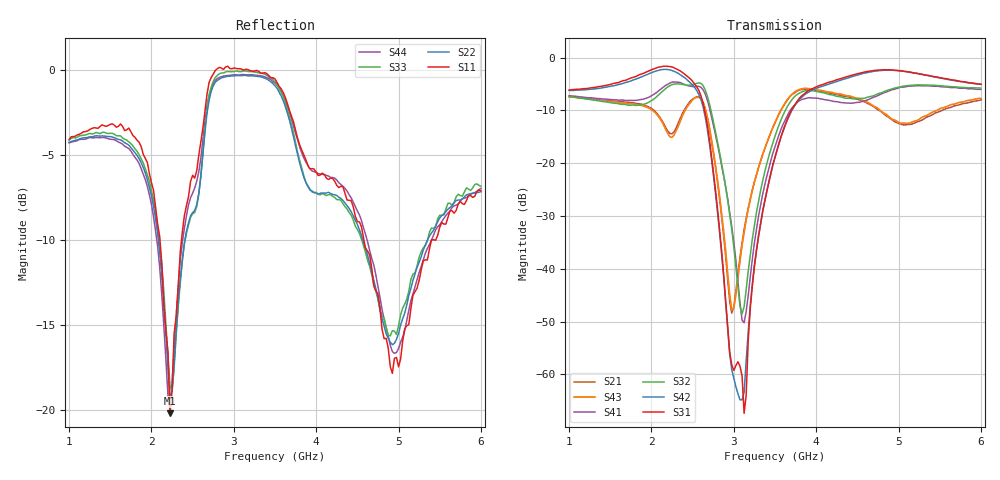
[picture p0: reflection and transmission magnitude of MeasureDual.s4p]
#  HZ  S  RI  R  50.00
! Rohde & Schwarz Vector Network Analyzer
! Rohde-Schwarz,ZNBT8-20Port,1318700624101530,3.45
! Created: UTC 9/9/2023, 5:57:14 PM
! freq[Hz]  re:S11  im:S11  re:S12  im:S12  re:S13  im:S13  re:S14  im:S14
!  re:S21  im:S21  re:S22  im:S22  re:S23  im:S23  re:S24  im:S24
!  re:S31  im:S31  re:S32  im:S32  re:S33  im:S33  re:S34  im:S34
!  re:S41  im:S41  re:S42  im:S42  re:S43  im:S43  re:S44  im:S44
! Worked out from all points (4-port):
!   201 points, 1 GHz to 6 GHz, reference 50 ohm
!   strongest paths, dB at 1 GHz, 2.25 GHz, 3.5 GHz, 4.75 GHz, 6 GHz:
!     S31: -6.1, -1.8, -18.8, -2.3, -5.0
!     S42: -6.2, -2.4, -18.9, -2.5, -5.1
!     S32: -7.3, -5.1, -14.9, -6.8, -5.7
!     S41: -7.2, -4.6, -16.8, -7.2, -6.0
!     S43: -7.3, -15.1, -12.3, -9.6, -7.7
!     S21: -7.4, -14.4, -12.4, -9.9, -8.0
!   lowest |S11| = -20.2 dB at 2.225 GHz (marker M1), VSWR 1.22, Z = 49.5 - j9.78 ohm
!   |S11| at or under -10 dB: 2.103 GHz to 2.364 GHz (261 MHz wide, 11.7 % of centre); 4.58 GHz to 5.399 GHz (818.8 MHz wide, 16.4 % of centre); 5.444183 GHz to 5.450723 GHz (6.54 MHz wide, 0.12 % of centre)
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1e9  -0.4228 0.4607  0.0238 -0.4249  -0.0938 -0.4852  0.00513 -0.4356
     0.0235 -0.4249  -0.3938 0.4702  -0.00369 -0.4311  -0.1105 -0.4777
     -0.0935 -0.4853  -0.00333 -0.4315  -0.41 0.468  0.015 -0.4302
     0.00566 -0.4356  -0.1104 -0.4777  0.0149 -0.4303  -0.3967 0.4647
2.225e9  0.00446 -0.0979  -0.1874 0.0422  0.1649 0.8078  -0.5476 0.18
         -0.1872 0.0419  -0.00848 -0.1097  -0.5378 0.0802  0.1685 0.7471
         0.1633 0.8076  -0.538 0.0797  0.0141 -0.1172  -0.1726 0.0413
         -0.5476 0.1785  0.1674 0.7477  -0.1728 0.0411  -0.03 -0.095
2.65e9  -0.2982 0.7  0.1503 0.297  -0.0237 -0.3038  0.3209 0.327
        0.1505 0.2971  -0.3277 0.5746  0.2977 0.4032  -0.0249 -0.281
        -0.0236 -0.3035  0.2972 0.404  -0.3976 0.5426  0.1327 0.3099
        0.3203 0.3276  -0.0245 -0.2812  0.1325 0.3101  -0.3132 0.6347
3.125e9  0.8653 0.5018  0.00756 -0.0227  -0.000258 0.000366  -0.000452 -0.00304
         0.00678 -0.0226  0.8373 0.4805  0.00105 -0.00431  -0.000583 -0.000364
         -0.000228 0.000363  0.00102 -0.00427  0.815 0.5695  0.00901 -0.0204
         -0.00048 -0.00305  -0.000575 -0.000355  0.00864 -0.0202  0.8169 0.5231
3.775e9  0.3992 -0.4862  -0.4859 0.00652  -0.3436 0.1927  -0.3757 0.0641
         -0.4859 0.00638  0.3109 -0.4704  -0.4426 0.0905  -0.332 0.1941
         -0.3429 0.1919  -0.4428 0.0901  0.3367 -0.4632  -0.4919 -0.0123
         -0.3753 0.0631  -0.3315 0.1924  -0.4918 -0.0129  0.4054 -0.4721
4.65e9  -0.2326 -0.1665  0.195 0.3025  0.7334 -0.1441  0.1757 0.3669
        0.1961 0.3028  -0.2155 -0.1629  0.2155 0.3689  0.7181 -0.1362
        0.7325 -0.1422  0.2146 0.3693  -0.2201 -0.1469  0.1923 0.3143
        0.1751 0.3666  0.7194 -0.1339  0.192 0.315  -0.2285 -0.186
6e9  0.1788 -0.4036  0.382 -0.1148  -0.5608 0.0394  0.1657 -0.4734
     0.3821 -0.1148  0.1837 -0.3988  0.1866 -0.4822  -0.555 0.0565
     -0.5593 0.038  0.1865 -0.4815  0.1978 -0.411  0.3944 -0.1206
     0.1661 -0.473  -0.5562 0.054  0.3943 -0.1206  0.1842 -0.4095
